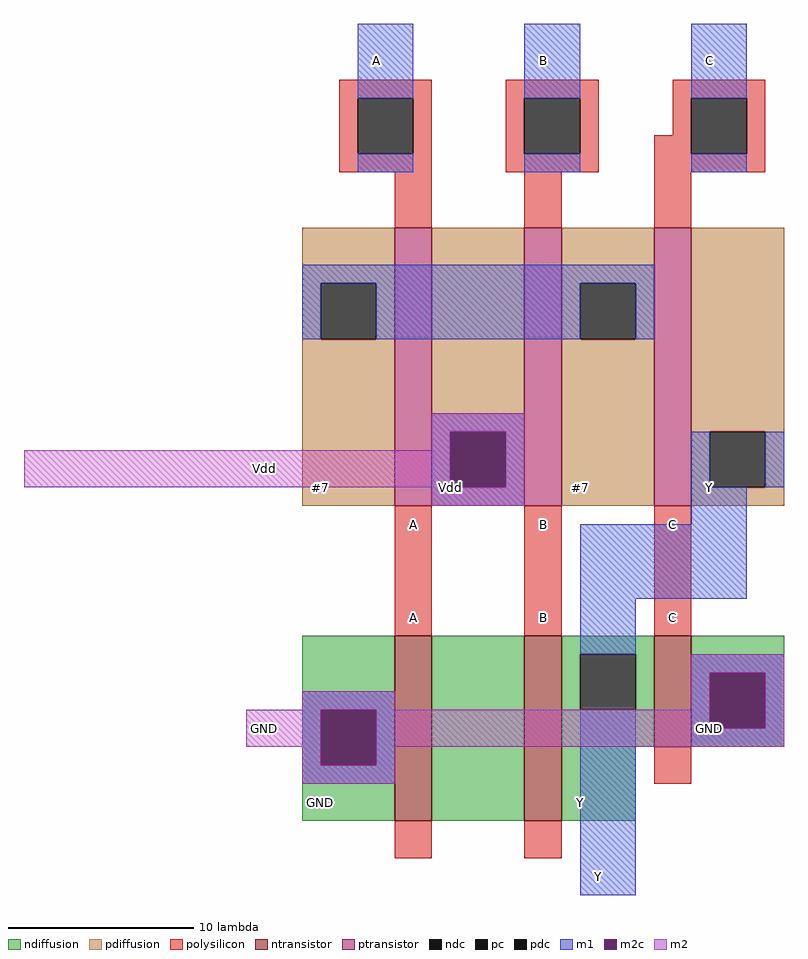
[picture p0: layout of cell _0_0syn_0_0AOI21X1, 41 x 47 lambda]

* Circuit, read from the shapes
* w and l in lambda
.subckt _0_0syn_0_0AOI21X1 GND Vdd C B Y A
M1 n1 A GND VSUBS nfet w=10 l=2
M2 Y B n1 VSUBS nfet w=10 l=2
M3 GND C Y VSUBS nfet w=6 l=2
M4 Vdd A #7 NWELL pfet w=15 l=2
M5 #7 B Vdd NWELL pfet w=15 l=2
M6 Y C #7 NWELL pfet w=15 l=2
.ends

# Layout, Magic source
magic
tech sky130l
<< ndiffusion >>
rect 6 12 11 16
rect 6 9 7 12
rect 10 9 11 12
rect 6 6 11 9
rect 13 6 18 16
rect 20 15 25 16
rect 20 12 21 15
rect 24 12 25 15
rect 20 10 25 12
rect 27 14 32 16
rect 27 11 28 14
rect 31 11 32 14
rect 27 10 32 11
rect 20 6 24 10
<< ndc >>
rect 7 9 10 12
rect 21 12 24 15
rect 28 11 31 14
<< ntransistor >>
rect 11 6 13 16
rect 18 6 20 16
rect 25 10 27 16
<< pdiffusion >>
rect 6 35 11 38
rect 6 32 7 35
rect 10 32 11 35
rect 6 23 11 32
rect 13 27 18 38
rect 13 24 14 27
rect 17 24 18 27
rect 13 23 18 24
rect 20 35 25 38
rect 20 32 21 35
rect 24 32 25 35
rect 20 23 25 32
rect 27 27 32 38
rect 27 24 28 27
rect 31 24 32 27
rect 27 23 32 24
<< pdc >>
rect 7 32 10 35
rect 14 24 17 27
rect 21 32 24 35
rect 28 24 31 27
<< ptransistor >>
rect 11 23 13 38
rect 18 23 20 38
rect 25 23 27 38
<< polysilicon >>
rect 8 45 13 46
rect 8 42 9 45
rect 12 42 13 45
rect 8 41 13 42
rect 17 45 22 46
rect 17 42 18 45
rect 21 42 22 45
rect 26 45 31 46
rect 26 43 27 45
rect 17 41 22 42
rect 25 42 27 43
rect 30 42 31 45
rect 25 41 31 42
rect 11 38 13 41
rect 18 38 20 41
rect 25 38 27 41
rect 11 16 13 23
rect 18 16 20 23
rect 25 16 27 23
rect 25 8 27 10
rect 11 4 13 6
rect 18 4 20 6
<< pc >>
rect 9 42 12 45
rect 18 42 21 45
rect 27 42 30 45
<< m1 >>
rect 9 45 12 49
rect 9 41 12 42
rect 18 45 21 49
rect 18 41 21 42
rect 27 45 30 49
rect 27 41 30 42
rect 6 35 25 36
rect 6 32 7 35
rect 10 32 21 35
rect 24 32 25 35
rect 13 27 18 28
rect 13 24 14 27
rect 17 24 18 27
rect 13 23 18 24
rect 27 24 28 27
rect 31 24 32 27
rect 27 22 30 24
rect 21 18 30 22
rect 21 15 24 18
rect 6 12 11 13
rect 6 9 7 12
rect 10 9 11 12
rect 6 8 11 9
rect 21 2 24 12
rect 27 14 32 15
rect 27 11 28 14
rect 31 11 32 14
rect 27 10 32 11
<< m2c >>
rect 14 24 17 27
rect 7 9 10 12
rect 28 11 31 14
<< m2 >>
rect 13 27 18 28
rect 13 26 14 27
rect -9 24 14 26
rect 17 24 18 27
rect 13 23 18 24
rect 27 14 32 15
rect 6 12 11 13
rect 27 12 28 14
rect 3 10 7 12
rect 6 9 7 10
rect 10 11 28 12
rect 31 11 32 14
rect 10 10 32 11
rect 10 9 11 10
rect 6 8 11 9
<< labels >>
rlabel ndiffusion 28 11 28 11 3 GND
rlabel polysilicon 26 17 26 17 3 C
rlabel polysilicon 26 22 26 22 3 C
rlabel pdiffusion 28 24 28 24 3 Y
rlabel ndiffusion 21 7 21 7 3 Y
rlabel pdiffusion 21 24 21 24 3 #7
rlabel polysilicon 19 17 19 17 3 B
rlabel polysilicon 19 22 19 22 3 B
rlabel pdiffusion 14 24 14 24 3 Vdd
rlabel polysilicon 12 17 12 17 3 A
rlabel polysilicon 12 22 12 22 3 A
rlabel pdiffusion 7 24 7 24 3 #7
rlabel ndiffusion 7 7 7 7 3 GND
rlabel m1 10 47 10 47 3 A
port 6 e
rlabel m1 19 47 19 47 3 B
port 4 e
rlabel m1 28 47 28 47 3 C
port 3 e
rlabel m2 4 25 4 25 3 Vdd
port 2 e
rlabel m2 4 11 4 11 3 GND
port 1 e
rlabel m1 22 3 22 3 3 Y
port 5 e
<< end >>
